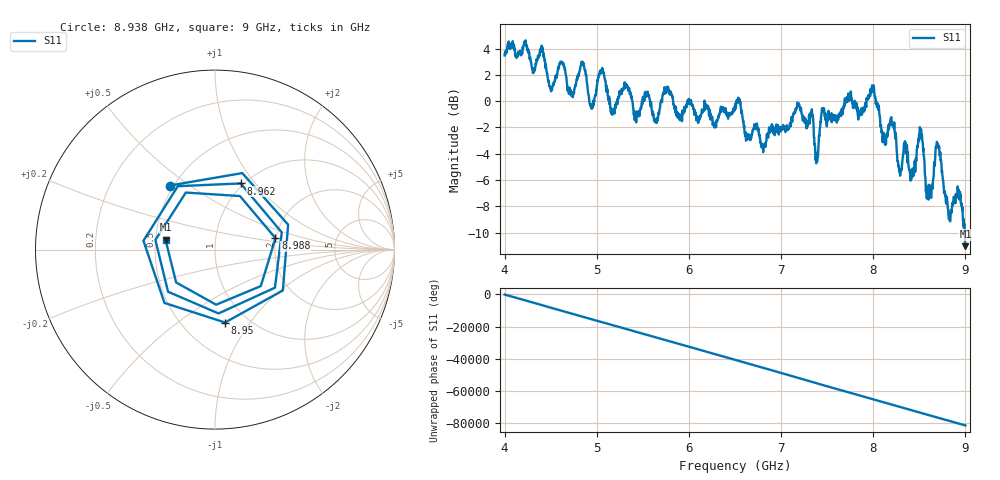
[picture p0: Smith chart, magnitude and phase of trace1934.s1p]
! Created with skrf 1.8.0 (http://scikit-rf.org).
# Hz S RI R 50.0
!freq ReS11 ImS11
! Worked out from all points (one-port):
!   1601 points, 4 GHz to 9 GHz, reference 50 ohm
!   lowest |S11| = -11.0 dB at 9 GHz (marker M1), VSWR 1.78, Z = 28.2 + j3.35 ohm
!   |S11| at or under -10 dB: 8.992548 GHz to end of sweep
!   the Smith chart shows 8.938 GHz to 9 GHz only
!   S11 on the Smith chart (normalised r, x): 8.938 GHz: 0.48, +0.42; 8.95 GHz: 0.79, -0.77; 8.962 GHz: 0.97, +0.85; 8.988 GHz: 1.99, +0.29; 9 GHz: 0.56, +0.07
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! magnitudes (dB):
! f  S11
! 4 GHz  3.5
! 4.506 GHz  0.7
! 4.625 GHz  3.0
! 4.719 GHz  0.7
! 4.85 GHz  2.7
! 4.941 GHz  -0.5
! 5.047 GHz  2.3
! 5.25 GHz  0.5
! 5.875 GHz  -0.9
! 6.5 GHz  -0.5
! 6.806 GHz  -3.9
! 7.125 GHz  -1.2
! 7.328 GHz  -0.8
! 7.388 GHz  -3.9
! 7.453 GHz  -0.5
! 7.75 GHz  0.5
! 7.997 GHz  1.1
! 8.112 GHz  -2.9
! 8.375 GHz  -3.9
! 8.512 GHz  -2.2
! 8.606 GHz  -6.9
! 8.703 GHz  -3.3
! 8.828 GHz  -8.6
! 8.938 GHz  -7.2
! 8.95 GHz  -7.7
! 8.962 GHz  -8.1
! 8.988 GHz  -9.3
! 9 GHz  -11.0
